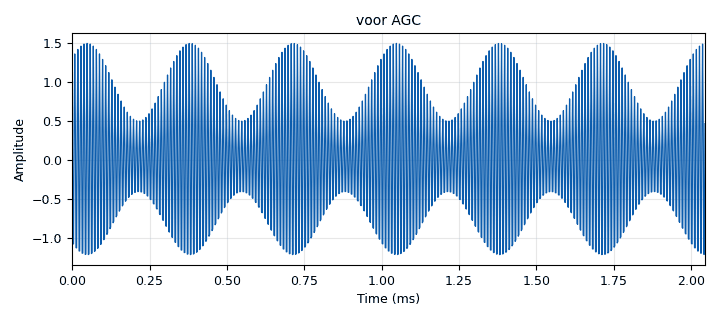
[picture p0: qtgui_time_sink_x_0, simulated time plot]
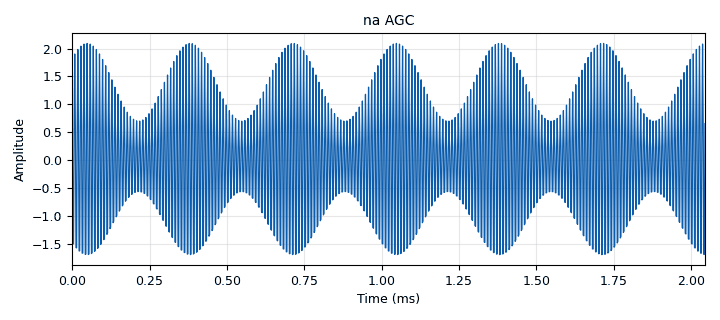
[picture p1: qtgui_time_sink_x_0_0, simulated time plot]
options:
  parameters:
    author: sten
    generate_options: qt_gui
    id: Labo_9
    output_language: python
    title: Oefening 1
  states: {}

blocks:
- name: AGCspeed
  id: variable_qtgui_range
  parameters:
    start: '0.00001'
    step: '0.0001'
    stop: '1'
    value: '0.00001'
  states: {}
- name: modulationFreq
  id: variable_qtgui_range
  parameters:
    start: 1e3
    step: '10'
    stop: 10e3
    value: 3e3
  states: {}
- name: samp_rate
  id: variable
  parameters:
    value: 500e3
  states: {}
- name: analog_agc_xx_0
  id: analog_agc_xx
  parameters:
    gain: '1.0'
    max_gain: '65536'
    rate: AGCspeed
    reference: '1.0'
    type: float
  states: {}
- name: analog_sig_source_x_0
  id: analog_sig_source_x
  parameters:
    amp: '1'
    freq: 100e3
    offset: '0'
    phase: '0'
    samp_rate: samp_rate
    type: float
    waveform: analog.GR_COS_WAVE
  states: {}
- name: analog_sig_source_x_0_0
  id: analog_sig_source_x
  parameters:
    amp: '0.5'
    freq: modulationFreq
    offset: '1'
    phase: '0'
    samp_rate: samp_rate
    type: float
    waveform: analog.GR_COS_WAVE
  states: {}
- name: blocks_multiply_xx_0
  id: blocks_multiply_xx
  parameters:
    type: float
  states: {}
- name: qtgui_time_sink_x_0
  id: qtgui_time_sink_x
  parameters:
    autoscale: 'True'
    gui_hint: 0,0
    name: '"voor AGC"'
    size: '1024'
    srate: samp_rate
    tr_delay: '1'
    tr_level: '1'
    tr_mode: qtgui.TRIG_MODE_AUTO
    type: float
    update_time: '1'
  states: {}
- name: qtgui_time_sink_x_0_0
  id: qtgui_time_sink_x
  parameters:
    autoscale: 'True'
    gui_hint: 0,1
    name: '"na AGC"'
    size: '1024'
    srate: samp_rate
    tr_delay: '1'
    tr_level: '1'
    tr_mode: qtgui.TRIG_MODE_AUTO
    type: float
    update_time: '1'
  states: {}

connections:
- [analog_agc_xx_0, '0', qtgui_time_sink_x_0_0, '0']
- [analog_sig_source_x_0, '0', blocks_multiply_xx_0, '0']
- [analog_sig_source_x_0_0, '0', blocks_multiply_xx_0, '1']
- [blocks_multiply_xx_0, '0', analog_agc_xx_0, '0']
- [blocks_multiply_xx_0, '0', qtgui_time_sink_x_0, '0']

metadata:
  file_format: 1
  grc_version: 3.10.7.0
